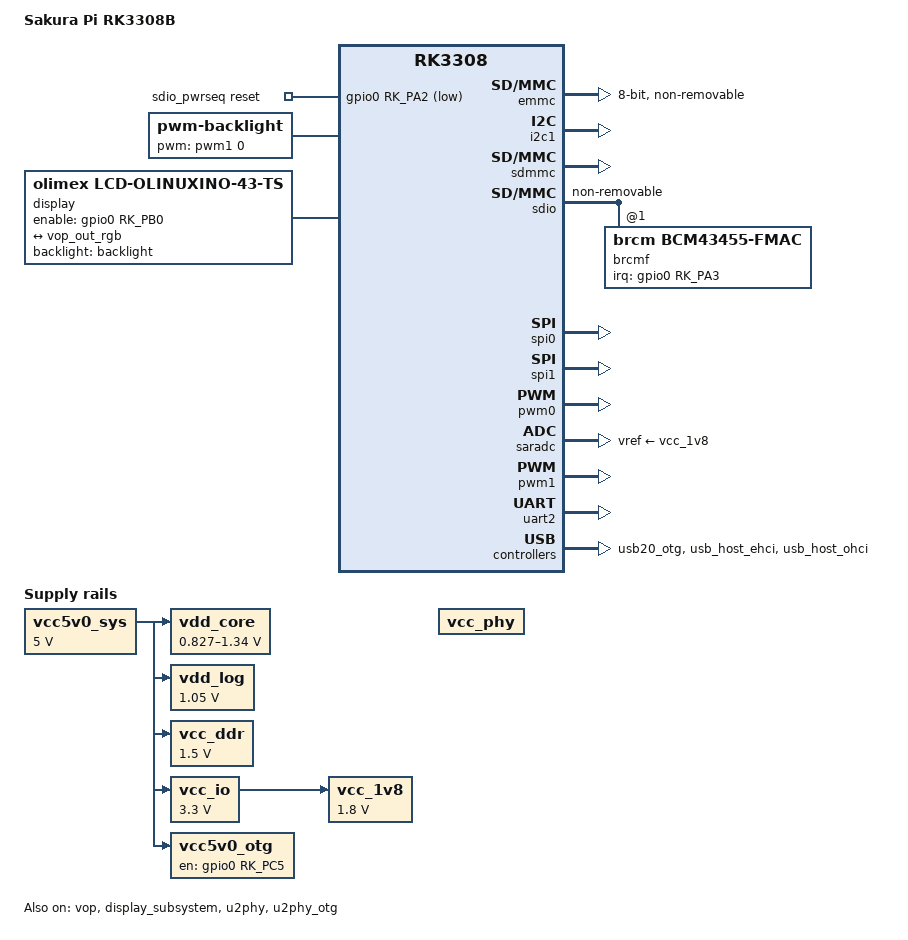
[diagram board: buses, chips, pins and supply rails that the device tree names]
// SPDX-License-Identifier: (GPL-2.0+ OR MIT)
/*
 * Copyright (c) 2019 Akash Gajjar <akash@openedev.com>
 * Copyright (c) 2019 Jagan Teki <jagan@openedev.com>
 * Copyright (C) 2024 TheSnowfield
 */

/dts-v1/;
#include "rk3308.dtsi"

/ {
	model = "Sakura Pi RK3308B";
	compatible = "rockchip,rk3308";

	chosen {
		stdout-path = "serial2:1500000n8";
	};

	sdio_pwrseq: sdio-pwrseq {
		compatible = "mmc-pwrseq-simple";
		pinctrl-0 = <&wifi_enable_h>;
		pinctrl-names = "default";
		/*
		 * On the module itself this is one of these (depending
		 * on the actual card populated):
		 * - SDIO_RESET_L_WL_REG_ON
		 * - PDN (power down when low)
		 */
		reset-gpios = <&gpio0 RK_PA2 GPIO_ACTIVE_LOW>;
	};

	vcc5v0_sys: vcc5v0-sys {
		compatible = "regulator-fixed";
		regulator-name = "vcc5v0_sys";
		regulator-always-on;
		regulator-boot-on;
		regulator-min-microvolt = <5000000>;
		regulator-max-microvolt = <5000000>;
	};

	vdd_core: vdd-core {
		compatible = "pwm-regulator";
		pwms = <&pwm0 0 5000 1>;
		regulator-name = "vdd_core";
		regulator-min-microvolt = <827000>;
		regulator-max-microvolt = <1340000>;
		regulator-init-microvolt = <1015000>;
		regulator-settling-time-up-us = <250>;
		regulator-always-on;
		regulator-boot-on;
		pwm-supply = <&vcc5v0_sys>;
	};

	vdd_log: vdd-log {
		compatible = "regulator-fixed";
		regulator-name = "vdd_log";
		regulator-always-on;
		regulator-boot-on;
		regulator-min-microvolt = <1050000>;
		regulator-max-microvolt = <1050000>;
		vin-supply = <&vcc5v0_sys>;
	};

	vcc_ddr: vcc-ddr {
		compatible = "regulator-fixed";
		regulator-name = "vcc_ddr";
		regulator-always-on;
		regulator-boot-on;
		regulator-min-microvolt = <1500000>;
		regulator-max-microvolt = <1500000>;
		vin-supply = <&vcc5v0_sys>;
	};

	vcc_1v8: vcc-1v8 {
		compatible = "regulator-fixed";
		regulator-name = "vcc_1v8";
		regulator-always-on;
		regulator-boot-on;
		regulator-min-microvolt = <1800000>;
		regulator-max-microvolt = <1800000>;
		vin-supply = <&vcc_io>;
	};

	vcc_io: vcc-io {
		compatible = "regulator-fixed";
		regulator-name = "vcc_io";
		regulator-always-on;
		regulator-boot-on;
		regulator-min-microvolt = <3300000>;
		regulator-max-microvolt = <3300000>;
		vin-supply = <&vcc5v0_sys>;
	};

	vcc_phy: vcc-phy-regulator {
		compatible = "regulator-fixed";
		regulator-name = "vcc_phy";
		regulator-always-on;
		regulator-boot-on;
	};

	vcc5v0_otg: vcc5v0-otg {
		compatible = "regulator-fixed";
		regulator-name = "vcc5v0_otg";
		regulator-always-on;
		gpio = <&gpio0 RK_PC5 GPIO_ACTIVE_HIGH>;
		enable-active-high;
		pinctrl-names = "default";
		pinctrl-0 = <&otg_vbus_drv>;
		vin-supply = <&vcc5v0_sys>;
	};

	backlight: backlight {
		status = "okay";
		compatible = "pwm-backlight";
		pwms = <&pwm1 0 25000 0>;
		brightness-levels = <
			  0   1   2   3   4   5   6   7
			  8   9  10  11  12  13  14  15
			 16  17  18  19  20  21  22  23
			 24  25  26  27  28  29  30  31
			 32  33  34  35  36  37  38  39
			 40  41  42  43  44  45  46  47
			 48  49  50  51  52  53  54  55
			 56  57  58  59  60  61  62  63
			 64  65  66  67  68  69  70  71
			 72  73  74  75  76  77  78  79
			 80  81  82  83  84  85  86  87
			 88  89  90  91  92  93  94  95
			 96  97  98  99 100 101 102 103
			104 105 106 107 108 109 110 111
			112 113 114 115 116 117 118 119
			120 121 122 123 124 125 126 127
			128 129 130 131 132 133 134 135
			136 137 138 139 140 141 142 143
			144 145 146 147 148 149 150 151
			152 153 154 155 156 157 158 159
			160 161 162 163 164 165 166 167
			168 169 170 171 172 173 174 175
			176 177 178 179 180 181 182 183
			184 185 186 187 188 189 190 191
			192 193 194 195 196 197 198 199
			200 201 202 203 204 205 206 207
			208 209 210 211 212 213 214 215
			216 217 218 219 220 221 222 223
			224 225 226 227 228 229 230 231
			232 233 234 235 236 237 238 239
			240 241 242 243 244 245 246 247
			248 249 250 251 252 253 254 255>;
		default-brightness-level = <200>;
	};

	display: panel {
		compatible = "olimex,lcd-olinuxino-43-ts";
		backlight = <&backlight>;
		enable-gpios = <&gpio0 RK_PB0 GPIO_ACTIVE_HIGH>;
		enable-delay-ms = <20>;
		status = "okay";

		panel_in: port {
			#address-cells = <1>;
			#size-cells = <0>;

			panel_in_rgb: endpoint {
				reg = <0>;
				remote-endpoint = <&vop_out_rgb>;
			};
		};
	};

};

&cpu0 {
	cpu-supply = <&vdd_core>;
};

&emmc {
	bus-width = <8>;
	cap-mmc-highspeed;
	non-removable;
	status = "okay";
};

&i2c1 {
	status = "okay";
};

&sdmmc {
	cap-mmc-highspeed;
	cap-sd-highspeed;
	disable-wp;
	pinctrl-0 = <&sdmmc_clk &sdmmc_cmd &sdmmc_det &sdmmc_bus4>;
	card-detect-delay = <800>;
	status = "okay";
};

&sdio {
	#address-cells = <1>;
	#size-cells = <0>;
	cap-sd-highspeed;
	cap-sdio-irq;
	keep-power-in-suspend;
	mmc-pwrseq = <&sdio_pwrseq>;
	non-removable;
	no-mmc;
	status = "okay";

	brcmf: wifi@1 {
		compatible = "brcm,bcm43455-fmac";
		reg = <1>;
		interrupt-parent = <&gpio0>;
		interrupts = <RK_PA3 GPIO_ACTIVE_HIGH>;
		interrupt-names = "host-wake";
		pinctrl-names = "default";
		pinctrl-0 = <&wifi_host_wake>;
	};
};

/* SPI0 for external gpio pin */
&spi0 {
	status = "okay";
	max-freq = <10000000>;
};

/* SPI1 for ws2812*/
&spi1 {
	status = "okay";
	max-freq = <10000000>;
};

&pinctrl {
	pinctrl-names = "default";
	pinctrl-0 = <&rtc_32k>;

	usb {
		otg_vbus_drv: otg-vbus-drv {
			rockchip,pins = <0 RK_PC5 RK_FUNC_GPIO &pcfg_pull_none>;
		};
	};

	sdio-pwrseq {
		wifi_enable_h: wifi-enable-h {
			rockchip,pins = <0 RK_PA2 RK_FUNC_GPIO &pcfg_pull_none>;
		};
	};

	wifi {
		wifi_host_wake: wifi-host-wake {
			rockchip,pins = <0 RK_PA0 RK_FUNC_GPIO &pcfg_pull_down>;
		};
	};
};

&pwm0 {
	status = "okay";
	pinctrl-0 = <&pwm0_pin_pull_down>;
};

&saradc {
	vref-supply = <&vcc_1v8>;
	status = "okay";
};

&vop {
	status = "okay";

	vop_out: port {
		#address-cells = <1>;
		#size-cells = <0>;

		vop_out_rgb: endpoint@0 {
			reg = <0>;
			remote-endpoint = <&panel_in_rgb>;
		};
	};
};

&pwm1 {
	status = "okay";
};

&display_subsystem {
	status = "okay";
};

&uart2 {
	pinctrl-names = "default";
	pinctrl-0 = <&uart2m0_xfer>;
	status = "okay";
};

&usb20_otg {
	status = "okay";
};

&u2phy {
	status = "okay";
};

&u2phy_otg {
	status = "okay";
};

&u2phy_host {
	state = "okay";
};

&usb_host_ehci {
	status = "okay";
};

&usb_host_ohci{
	status = "okay";
};
